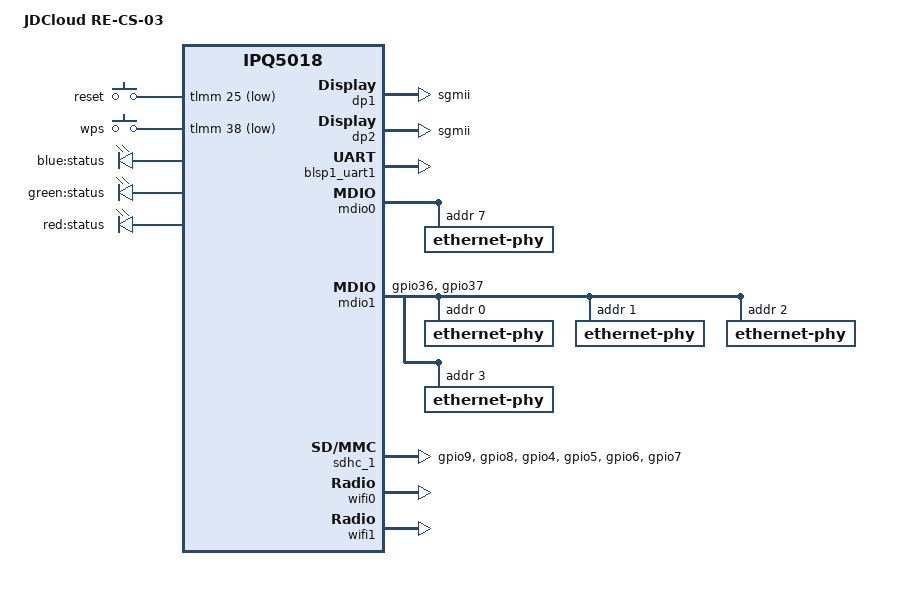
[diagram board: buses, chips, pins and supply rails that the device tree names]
// SPDX-License-Identifier: GPL-2.0-only

/dts-v1/;

#include "ipq5018.dtsi"
#include "ipq5018-ess.dtsi"

#include <dt-bindings/gpio/gpio.h>
#include <dt-bindings/input/input.h>
#include <dt-bindings/leds/common.h>

/ {
	#address-cells = <0x2>;
	#size-cells = <0x2>;
	model = "JDCloud RE-CS-03";
	compatible = "jdcloud,re-cs-03", "qcom,ipq5018";
	interrupt-parent = <&intc>;

	aliases {
		sdhc1 = &sdhc_1;
		serial0 = &blsp1_uart1;
		ethernet0 = "/soc/dp1";
		ethernet1 = "/soc/dp2";

		led-boot = &led_red;
		led-failsafe = &led_red;
		led-running = &led_blue;
		led-upgrade = &led_green;
	};

	chosen {
		stdout-path = "serial0";
		bootargs-append = " swiotlb=1 coherent_pool=2M";
	};

	reserved-memory {
		q6_mem_regions: q6_mem_regions@4B000000 {
			no-map;
			reg = <0x0 0x4B000000 0x0 0x3900000>;
		};

		q6_code_data: q6_code_data@4B000000 {
			no-map;
			reg = <0x0 0x4B000000 0x0 01000000>;
		};

		q6_ipq5018_data: q6_ipq5018_data@4C000000 {
			no-map;
			reg = <0x0 0x4C000000 0x0 0xE00000>;
		};

		m3_dump: m3_dump@4CE00000 {
			no-map;
			reg = <0x0 0x4CE00000 0x0 0x100000>;
		};

		q6_etr_region: q6_etr_dump@4CF00000 {
			no-map;
			reg = <0x0 0x4CF00000 0x0 0x100000>;
		};

		q6_caldb_region: q6_caldb_region@4D000000 {
			no-map;
			reg = <0x0 0x4D000000 0x0 0x200000>;
		};

		q6_qcn6122_data1: q6_qcn6122_data1@4D200000 {
			no-map;
			reg = <0x0 0x4D200000 0x0 0x1000000>;
		};

		m3_dump_qcn6122_1: m3_dump_qcn6122_1@4E200000 {
			no-map;
			reg = <0x0 0x4E200000 0x0 0x100000>;
		};

		q6_qcn6122_etr_1: q6_qcn6122_etr_1@4E300000 {
			no-map;
			reg = <0x0 0x4E300000 0x0 0x100000>;
		};

		q6_qcn6122_caldb_1: q6_qcn6122_caldb_1@4E400000 {
			no-map;
			reg = <0x0 0x4E400000 0x0 0x500000>;
		};
	};

	soc {
		ess-instance {
			num_devices = <0x2>;

			ess-switch@0x39c00000 {
				compatible = "qcom,ess-switch-ipq50xx";
				device_id = <0>;
				switch_mac_mode = <0xf>; /* mac mode for uniphy instance*/
				cmnblk_clk = "internal_96MHz"; /* cmnblk clk*/

				qcom,port_phyinfo {
					port@0 {
						port_id = <1>;
						phy_address = <7>;
					};
					port@1 {
						port_id = <2>;
						forced-speed = <1000>;
						forced-duplex = <1>;
					};
				};
			};

			ess-switch1@1 {
				compatible = "qcom,ess-switch-qca83xx";
				device_id = <1>;
				switch_access_mode = "mdio";
				mdio-bus = <&mdio1>;
				reset_gpio = <&tlmm 39 0>;
				switch_cpu_bmp = <0x40>;  /* cpu port bitmap */
				switch_lan_bmp = <0x1e>; /* lan port bitmap */
				switch_wan_bmp = <0x0>;  /* wan port bitmap */

				qca,ar8327-initvals = <
						0x00004 0x7600000   /* PAD0_MODE */
						0x00008 0x1000000   /* PAD5_MODE */
						0x0000c 0x80        /* PAD6_MODE */
						0x00010 0x2613a0    /* PORT6 FORCE MODE*/
						0x000e4 0xaa545     /* MAC_POWER_SEL */
						0x000e0 0xc74164de  /* SGMII_CTRL */
						0x0007c 0x4e        /* PORT0_STATUS */
						0x00094 0x4e        /* PORT6_STATUS */
				>;
				qcom,port_phyinfo {
					port@0 {
						port_id = <1>;
						phy_address = <0>;
					};
					port@1 {
						port_id = <2>;
						phy_address = <1>;
					};
					port@2 {
						port_id = <3>;
						phy_address = <2>;
					};
					port@3 {
						port_id = <4>;
						phy_address = <3>;
					};
				};
			};
		};

		dp1 {
			device_type = "network";
			compatible = "qcom,nss-dp";
			clocks = <&gcc GCC_SNOC_GMAC0_AXI_CLK>;
			clock-names = "nss-snoc-gmac-axi-clk";
			qcom,id = <1>;
			reg = <0x39C00000 0x10000>;
			interrupts = <GIC_SPI 101 IRQ_TYPE_LEVEL_HIGH>;
			qcom,mactype = <2>;
			qcom,link-poll = <1>;
			qcom,phy-mdio-addr = <7>;
			mdio-bus = <&mdio0>;
			local-mac-address = [000000000000];
			phy-mode = "sgmii";
			qcom,rx-page-mode = <0>;
		};

		dp2 {
			device_type = "network";
			compatible = "qcom,nss-dp";
			clocks = <&gcc GCC_SNOC_GMAC1_AXI_CLK>;
			clock-names = "nss-snoc-gmac-axi-clk";
			qcom,id = <2>;
			reg = <0x39D00000 0x10000>;
			interrupts = <GIC_SPI 109 IRQ_TYPE_LEVEL_HIGH>;
			qcom,mactype = <2>;
			local-mac-address = [000000000000];
			phy-mode = "sgmii";
			qcom,rx-page-mode = <0>;
		};
	};

	keys {
		compatible = "gpio-keys";
		pinctrl-0 = <&button_pins>;
		pinctrl-names = "default";

		reset {
			label = "reset";
			linux,code = <KEY_RESTART>;
			gpios = <&tlmm 25 GPIO_ACTIVE_LOW>;
			linux,input-type = <1>;
			debounce-interval = <60>;
		};

		wps {
			label = "wps";
			linux,code = <KEY_WPS_BUTTON>;
			gpios = <&tlmm 38 GPIO_ACTIVE_LOW>;
			linux,input-type = <1>;
			debounce-interval = <60>;
		};
	};

	leds {
		compatible = "gpio-leds";
		pinctrl-0 = <&leds_pins>;
		pinctrl-names = "default";

		led_blue: status_blue {
			label = "blue:status";
			gpio = <&tlmm 31 GPIO_ACTIVE_HIGH>;
		};

		led_green: status_green {
			label = "green:status";
			gpio = <&tlmm 32 GPIO_ACTIVE_HIGH>;
		};

		led_red: status_red {
			label = "red:status";
			gpio = <&tlmm 33 GPIO_ACTIVE_HIGH>;
		};
	};
};

&blsp1_uart1 {
	status = "ok";
};

&mdio0 {
	status = "ok";

	ethernet-phy@0 {
		reg = <7>;
	};
};

&mdio1 {
	pinctrl-0 = <&mdio1_pins>;
	pinctrl-names = "default";
	phy-reset-gpio = <&tlmm 39 0>;
	status = "ok";

	ethernet-phy@0 {
		reg = <0>;
	};

	ethernet-phy@1 {
		reg = <1>;
	};

	ethernet-phy@2 {
		reg = <2>;
	};

	ethernet-phy@3 {
		reg = <3>;
	};
};

&q6v5_wcss {
	compatible = "qcom,ipq5018-q6-mpd";
	firmware = "IPQ5018/q6_fw.mdt";
	#address-cells = <1>;
	#size-cells = <1>;
	ranges;

	reg = <0x0cd00000 0x4040>,
	      <0x1938000 0x8>,
	      <0x193d204 0x4>;
	reg-names = "qdsp6",
		    "tcsr-msip",
		    "tcsr-q6";
	resets = <&gcc GCC_WCSSAON_RESET>,
		 <&gcc GCC_WCSS_Q6_BCR>;

	reset-names = "wcss_aon_reset",
		      "wcss_q6_reset";

	clocks = <&gcc GCC_Q6_AXIS_CLK>,
		 <&gcc GCC_WCSS_ECAHB_CLK>,
		 <&gcc GCC_Q6_AXIM_CLK>,
		 <&gcc GCC_Q6_AXIM2_CLK>,
		 <&gcc GCC_Q6_AHB_CLK>,
		 <&gcc GCC_Q6_AHB_S_CLK>,
		 <&gcc GCC_WCSS_AXI_S_CLK>;
	clock-names = "gcc_q6_axis_clk",
		      "gcc_wcss_ecahb_clk",
		      "gcc_q6_axim_clk",
		      "gcc_q6_axim2_clk",
		      "gcc_q6_ahb_clk",
		      "gcc_q6_ahb_s_clk",
		      "gcc_wcss_axi_s_clk";

	memory-region = <&q6_mem_regions>, <&q6_etr_region>,
			<&q6_caldb_region>;

	qcom,rproc = <&q6v5_wcss>;
	qcom,bootargs_smem = <507>;
	boot-args = <0x1 0x4 0x3 0x0F 0x0 0x0>,
		    <0x2 0x4 0x2 0x12 0x0 0x0>;

	q6_wcss_pd1: remoteproc_pd1@4ab000 {
		compatible = "qcom,ipq5018-wcss-ahb-mpd";
		firmware = "IPQ5018/q6_fw.mdt";
		m3_firmware = "IPQ5018/m3_fw.mdt";

		reg = <0x4ab000 0x20>;
		reg-names = "rmb";

		interrupts-extended = <&wcss_smp2p_in 8 0>,
				      <&wcss_smp2p_in 9 0>,
				      <&wcss_smp2p_in 12 0>,
				      <&wcss_smp2p_in 11 0>;
		interrupt-names = "fatal",
				  "ready",
				  "spawn-ack",
				  "stop-ack";

		resets = <&gcc GCC_WCSSAON_RESET>,
			 <&gcc GCC_WCSS_BCR>,
			 <&gcc GCC_CE_BCR>;
		reset-names = "wcss_aon_reset",
			      "wcss_reset",
			      "ce_reset";

		clocks = <&gcc GCC_WCSS_AHB_S_CLK>,
			 <&gcc GCC_WCSS_ACMT_CLK>,
			 <&gcc GCC_WCSS_AXI_M_CLK>;
		clock-names = "gcc_wcss_ahb_s_clk",
			      "gcc_wcss_acmt_clk",
			      "gcc_wcss_axi_m_clk";

		// qcom,halt-regs = <&tcsr_q6_block 0xa000 0xd000 0x0>;

		qcom,smem-states = <&wcss_smp2p_out 8>,
				   <&wcss_smp2p_out 9>,
				   <&wcss_smp2p_out 10>;
		qcom,smem-state-names = "shutdown",
					"stop",
					"spawn";
		memory-region = <&q6_ipq5018_data>, <&m3_dump>,
				<&q6_etr_region>, <&q6_caldb_region>;
	};

	q6_wcss_pd2: remoteproc_pd2 {
		compatible = "qcom,ipq5018-wcss-pcie-mpd";
		firmware = "IPQ5018/q6_fw.mdt";
		m3_firmware = "qcn6122/m3_fw.mdt";

		interrupts-extended = <&wcss_smp2p_in 16 0>,
				      <&wcss_smp2p_in 17 0>,
				      <&wcss_smp2p_in 20 0>,
				      <&wcss_smp2p_in 19 0>;
		interrupt-names = "fatal",
				  "ready",
				  "spawn-ack",
				  "stop-ack";

		qcom,smem-states = <&wcss_smp2p_out 16>,
				   <&wcss_smp2p_out 17>,
				   <&wcss_smp2p_out 18>;
		qcom,smem-state-names = "shutdown",
					"stop",
					"spawn";
		memory-region = <&q6_qcn6122_data1>, <&m3_dump_qcn6122_1>,
				<&q6_qcn6122_etr_1>, <&q6_qcn6122_caldb_1>;
	};
};

&sdhc_1 {
	pinctrl-0 = <&emmc_pins>;
	pinctrl-names = "default";
	status = "ok";
};

&tlmm {
	button_pins: button_pins {
		mux {
			pins = "gpio25", "gpio38";
			function = "gpio";
			drive-strength = <8>;
			bias-pull-up;
		};
	};

	leds_pins: leds_pins {
		mux {
			pins = "gpio31", "gpio32", "gpio33";
			function = "gpio";
			drive-strength = <8>;
			bias-pull-down;
			output-low;
		};
	};

	mdio1_pins: mdio_pinmux {
		mux_0 {
			pins = "gpio36";
			function = "mdc";
			drive-strength = <8>;
			bias-pull-up;
		};
		mux_1 {
			pins = "gpio37";
			function = "mdio";
			drive-strength = <8>;
			bias-pull-up;
		};
	};

	emmc_pins: emmc_pins {
		emmc_clk {
			pins = "gpio9";
			function = "sdc1_clk";
			drive-strength = <8>;
			bias-disable;
		};

		emmc_cmd {
			pins = "gpio8";
			function = "sdc1_cmd";
			drive-strength = <8>;
			bias-pull-up;
		};

		emmc_data {
			pins = "gpio4", "gpio5", "gpio6", "gpio7";
			function = "sdc1_data";
			drive-strength = <8>;
			bias-disable;
		};
	};
};

&wifi0 {
	qcom,multipd_arch;
	qcom,userpd-subsys-name = "q6v5_wcss_userpd1";
	qcom,rproc = <&q6_wcss_pd1>;
	qcom,board_id = <0x24>;
	qcom,bdf-addr = <0x0 0x4C000000 0x4C000000 0x0 0x0>;
	qcom,caldb-addr = <0x0 0x4D000000 0 0 0>;
	mem-region = <&q6_ipq5018_data>;
	qcom,caldb-size = <0x200000>;
	status = "ok";
};

&wifi1 {
	qcom,multipd_arch;
	qcom,userpd-subsys-name = "q6v5_wcss_userpd2";
	qcom,rproc = <&q6_wcss_pd2>;
	qcom,tgt-mem-mode = <1>;
	qcom,board_id = <0x60>;
	qcom,bdf-addr = <0x0 0x4D200000 0x4CF00000 0x0 0x0>;
	qcom,caldb-addr = <0x0 0x4E400000 0 0 0>;
	mem-region = <&q6_qcn6122_data1>;
	qcom,caldb-size = <0x500000>;
	status = "ok";
};
